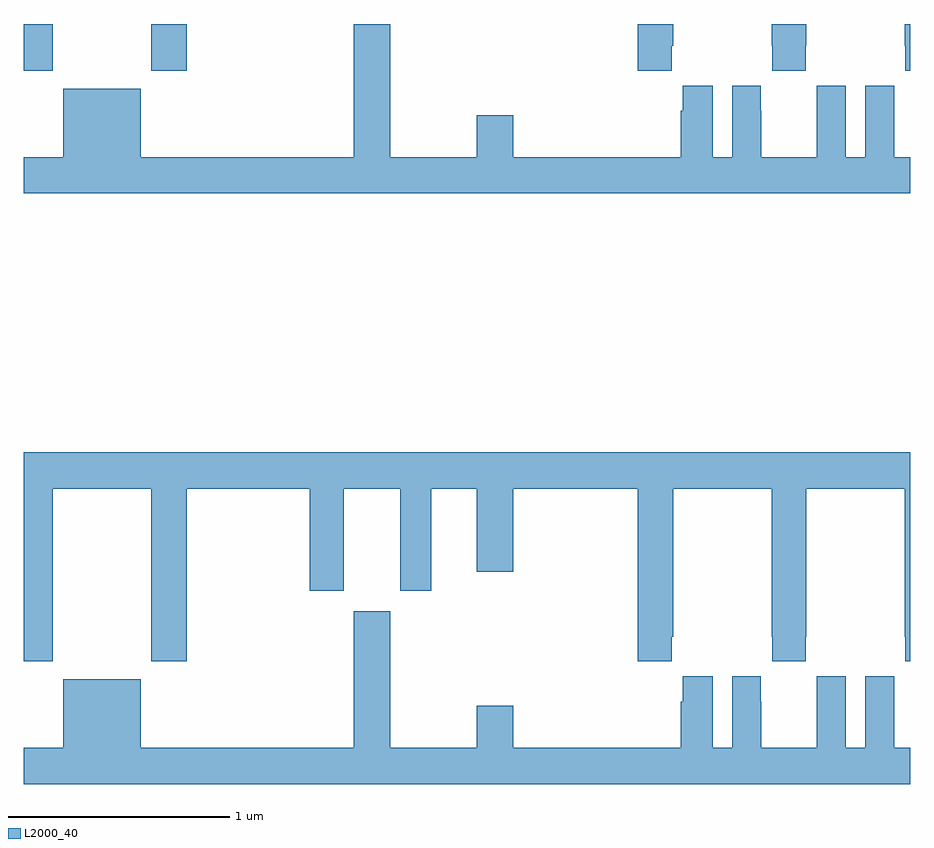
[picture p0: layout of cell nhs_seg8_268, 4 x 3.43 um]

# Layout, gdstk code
import gdstk
lib = gdstk.Library(unit=1e-6, precision=1e-09)
def R(c, l, rs):  # rectangles x0, y0, x1, y1
    for r in rs: c.add(gdstk.rectangle(r[:2], r[2:], *l))
def P(c, l, *ps):  # polygons
    for p in ps: c.add(gdstk.Polygon(p, *l))
L2000_40 = (2000, 40)

nhs_seg8_268 = lib.new_cell('nhs_seg8_268')
R(nhs_seg8_268, L2000_40, [(127,1147.689,127.131,1147.9), (127.576,1147.689,127.736,1147.9)])
P(nhs_seg8_268, L2000_40, [(131,1147.3),(130.927,1147.3),(130.927,1147.508),(130.926,1147.508),(130.926,1147.621),(130.796,1147.621),(130.796,1147.3),(130.708,1147.3),(130.708,1147.621),(130.578,1147.621),(130.578,1147.508),(130.577,1147.508),(130.577,1147.3),(130.327,1147.3),(130.327,1147.508),(130.326,1147.508),(130.326,1147.621),(130.196,1147.621),(130.196,1147.3),(130.108,1147.3),(130.108,1147.621),(129.974,1147.621),(129.974,1147.508),(129.965,1147.508),(129.965,1147.3),(129.208,1147.3),(129.208,1147.489),(129.044,1147.489),(129.044,1147.3),(128.653,1147.3),(128.653,1147.9),(128.489,1147.9),(128.489,1147.3),(127.528,1147.3),(127.528,1147.609),(127.178,1147.609),(127.178,1147.3),(127,1147.3),(127,1147.136),(131,1147.136)],
  [(129.923,1147.801),(129.93,1147.801),(129.93,1147.9),(129.77,1147.9),(129.77,1147.689),(129.923,1147.689)],
  [(130.527,1147.801),(130.53,1147.801),(130.53,1147.9),(130.375,1147.9),(130.375,1147.801),(130.377,1147.801),(130.377,1147.689),(130.527,1147.689)],
  [(131,1147.9),(130.975,1147.9),(130.975,1147.801),(130.977,1147.801),(130.977,1147.689),(131,1147.689)],
  [(127.131,1145.804),(127.576,1145.804),(127.576,1145.025),(127.736,1145.025),(127.736,1145.804),(128.291,1145.804),(128.291,1145.343),(128.443,1145.343),(128.443,1145.804),(128.699,1145.804),(128.699,1145.343),(128.839,1145.343),(128.839,1145.804),(129.044,1145.804),(129.044,1145.43),(129.208,1145.43),(129.208,1145.804),(129.77,1145.804),(129.77,1145.025),(129.923,1145.025),(129.923,1145.137),(129.93,1145.137),(129.93,1145.804),(130.375,1145.804),(130.375,1145.137),(130.377,1145.137),(130.377,1145.025),(130.527,1145.025),(130.527,1145.137),(130.53,1145.137),(130.53,1145.804),(130.975,1145.804),(130.975,1145.137),(130.977,1145.137),(130.977,1145.025),(131,1145.025),(131,1145.968),(127,1145.968),(127,1145.025),(127.131,1145.025)],
  [(131,1144.636),(130.927,1144.636),(130.927,1144.844),(130.926,1144.844),(130.926,1144.957),(130.796,1144.957),(130.796,1144.636),(130.708,1144.636),(130.708,1144.957),(130.578,1144.957),(130.578,1144.844),(130.577,1144.844),(130.577,1144.636),(130.327,1144.636),(130.327,1144.844),(130.326,1144.844),(130.326,1144.957),(130.196,1144.957),(130.196,1144.636),(130.108,1144.636),(130.108,1144.957),(129.974,1144.957),(129.974,1144.844),(129.965,1144.844),(129.965,1144.636),(129.208,1144.636),(129.208,1144.825),(129.044,1144.825),(129.044,1144.636),(128.653,1144.636),(128.653,1145.251),(128.489,1145.251),(128.489,1144.636),(127.528,1144.636),(127.528,1144.945),(127.178,1144.945),(127.178,1144.636),(127,1144.636),(127,1144.472),(131,1144.472)])

lib.write_gds('nhs_seg8_268.gds')
